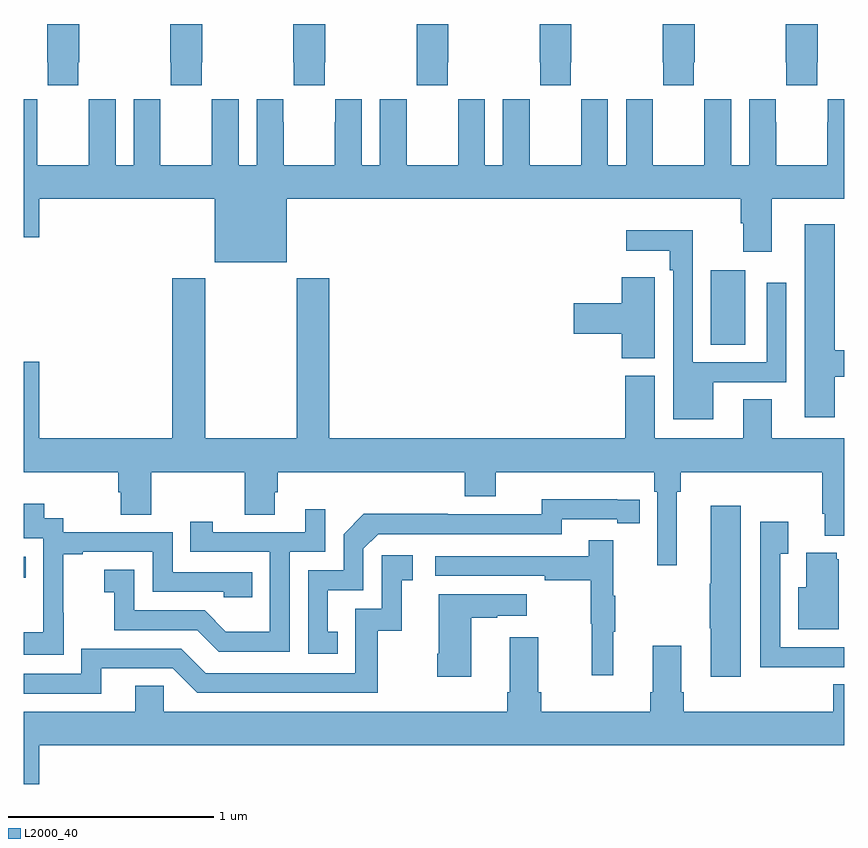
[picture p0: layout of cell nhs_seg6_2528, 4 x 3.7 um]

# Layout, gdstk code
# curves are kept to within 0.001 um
import gdstk
lib = gdstk.Library(unit=1e-6, precision=1e-09)
def R(c, l, rs):  # rectangles x0, y0, x1, y1
    for r in rs: c.add(gdstk.rectangle(r[:2], r[2:], *l))
def P(c, l, *ps):  # polygons
    for p in ps: c.add(gdstk.Polygon(p, *l))
L2000_40 = (2000, 40)

nhs_seg6_2528 = lib.new_cell('nhs_seg6_2528')
R(nhs_seg6_2528, L2000_40, [(261,966.802,261.011,966.903), (264.35,967.936,264.517,968.299)])
P(nhs_seg6_2528, L2000_40, [(262.467,969.313),(262.47,969.313),(262.47,969.5),(262.315,969.5),(262.315,969.313),(262.317,969.313),(262.317,969.201),(262.467,969.201)],
  [(264.867,969.313),(264.87,969.313),(264.87,969.5),(264.715,969.5),(264.715,969.313),(264.717,969.313),(264.717,969.201),(264.867,969.201)],
  [(264.267,969.313),(264.27,969.313),(264.27,969.5),(264.115,969.5),(264.115,969.313),(264.117,969.313),(264.117,969.201),(264.267,969.201)],
  [(261.867,969.313),(261.87,969.313),(261.87,969.5),(261.715,969.5),(261.715,969.313),(261.717,969.313),(261.717,969.201),(261.867,969.201)],
  [(263.667,969.313),(263.67,969.313),(263.67,969.5),(263.515,969.5),(263.515,969.313),(263.517,969.313),(263.517,969.201),(263.667,969.201)],
  [(263.067,969.313),(263.07,969.313),(263.07,969.5),(262.915,969.5),(262.915,969.313),(262.917,969.313),(262.917,969.201),(263.067,969.201)],
  [(261.267,969.313),(261.27,969.313),(261.27,969.5),(261.115,969.5),(261.115,969.313),(261.117,969.313),(261.117,969.201),(261.267,969.201)],
  [(264.494,968.528),(264.506,968.528),(264.506,968.391),(264.646,968.391),(264.646,968.648),(265,968.648),(265,969.133),(264.918,969.133),(264.918,969.02),(264.917,969.02),(264.917,968.812),(264.667,968.812),(264.667,969.02),(264.666,969.02),(264.666,969.133),(264.536,969.133),(264.536,968.812),(264.448,968.812),(264.448,969.133),(264.318,969.133),(264.318,969.02),(264.317,969.02),(264.317,968.812),(264.067,968.812),(264.067,969.02),(264.066,969.02),(264.066,969.133),(263.936,969.133),(263.936,968.812),(263.848,968.812),(263.848,969.133),(263.718,969.133),(263.718,969.02),(263.717,969.02),(263.717,968.812),(263.467,968.812),(263.467,969.02),(263.466,969.02),(263.466,969.133),(263.336,969.133),(263.336,968.812),(263.248,968.812),(263.248,969.133),(263.118,969.133),(263.118,969.02),(263.117,969.02),(263.117,968.812),(262.867,968.812),(262.867,969.02),(262.866,969.02),(262.866,969.133),(262.736,969.133),(262.736,968.812),(262.648,968.812),(262.648,969.133),(262.518,969.133),(262.518,969.02),(262.517,969.02),(262.517,968.812),(262.267,968.812),(262.267,969.02),(262.266,969.02),(262.266,969.133),(262.136,969.133),(262.136,968.812),(262.048,968.812),(262.048,969.133),(261.918,969.133),(261.918,969.02),(261.917,969.02),(261.917,968.812),(261.667,968.812),(261.667,969.02),(261.666,969.02),(261.666,969.133),(261.536,969.133),(261.536,968.812),(261.448,968.812),(261.448,969.133),(261.318,969.133),(261.318,969.02),(261.317,969.02),(261.317,968.812),(261.067,968.812),(261.067,969.02),(261.066,969.02),(261.066,969.133),(261,969.133),(261,968.46),(261.076,968.46),(261.076,968.648),(261.932,968.648),(261.932,968.339),(262.282,968.339),(262.282,968.648),(264.494,968.648)],
  [(264.953,967.782),(265,967.782),(265,967.91),(264.953,967.91),(264.953,968.524),(264.806,968.524),(264.806,967.584),(264.953,967.584)],
  [(264.361,967.755),(264.717,967.755),(264.717,968.239),(264.621,968.239),(264.621,967.851),(264.261,967.851),(264.261,968.494),(263.937,968.494),(263.937,968.396),(264.149,968.396),(264.149,968.3),(264.165,968.3),(264.165,967.574),(264.361,967.574)],
  [(264.076,968.153),(264.075,968.153),(264.075,968.266),(263.915,968.266),(263.915,968.138),(263.682,968.138),(263.682,967.991),(263.915,967.991),(263.915,967.87),(264.076,967.87)],
  [(264.184,967.22),(264.203,967.22),(264.203,967.316),(264.893,967.316),(264.893,967.114),(264.905,967.114),(264.905,967.007),(265,967.007),(265,967.48),(264.646,967.48),(264.646,967.67),(264.506,967.67),(264.506,967.48),(264.076,967.48),(264.076,967.785),(263.933,967.785),(263.933,967.48),(262.49,967.48),(262.49,968.26),(262.33,968.26),(262.33,967.48),(261.885,967.48),(261.885,968.26),(261.725,968.26),(261.725,967.48),(261.076,967.48),(261.076,967.855),(261,967.855),(261,967.316),(261.461,967.316),(261.461,967.218),(261.473,967.218),(261.473,967.108),(261.621,967.108),(261.621,967.316),(262.078,967.316),(262.078,967.108),(262.225,967.108),(262.225,967.218),(262.238,967.218),(262.238,967.316),(263.15,967.316),(263.15,967.199),(263.302,967.199),(263.302,967.316),(264.074,967.316),(264.074,967.22),(264.087,967.22),(264.087,966.861),(264.184,966.861)],
  [(262.532,966.537),(262.483,966.537),(262.483,966.741),(262.656,966.741),(262.656,966.942),(262.728,967.014),(263.622,967.014),(263.622,967.086),(263.894,967.086),(263.894,967.066),(264.002,967.066),(264.002,967.182),(263.526,967.183),(263.526,967.11),(263.066,967.11),(263.066,967.112),(262.658,967.112),(262.56,967.014),(262.56,966.837),(262.386,966.837),(262.386,966.432),(262.532,966.432)],
  [(261.195,966.631),(261.194,966.631),(261.194,966.915),(261.289,966.915),(261.289,966.927),(261.63,966.927),(261.63,966.732),(261.975,966.732),(261.975,966.705),(262.115,966.705),(262.115,966.828),(261.726,966.828),(261.726,967.023),(261.192,967.023),(261.192,967.092),(261.1,967.092),(261.1,967.162),(261,967.162),(261,966.993),(261.096,966.993),(261.096,966.764),(261.095,966.764),(261.095,966.535),(261,966.535),(261,966.425),(261.195,966.425)],
  [(264.496,967.153),(264.35,967.153),(264.35,966.773),(264.343,966.773),(264.343,966.556),(264.35,966.556),(264.35,966.318),(264.496,966.318)],
  [(262.296,966.927),(262.47,966.927),(262.47,967.135),(262.373,967.135),(262.373,967.023),(261.922,967.023),(261.922,967.075),(261.811,967.075),(261.811,966.927),(262.2,966.927),(262.2,966.538),(261.986,966.538),(261.882,966.642),(261.54,966.642),(261.54,966.841),(261.393,966.841),(261.393,966.731),(261.442,966.731),(261.442,966.546),(261.845,966.546),(261.95,966.441),(262.296,966.441)],
  [(264.863,966.366),(265,966.366),(265,966.462),(264.687,966.462),(264.687,966.919),(264.727,966.919),(264.727,967.075),(264.591,967.075),(264.591,966.365),(264.863,966.365)],
  [(263.873,966.539),(263.884,966.539),(263.884,966.713),(263.873,966.713),(263.873,966.985),(263.755,966.985),(263.755,966.906),(263.007,966.906),(263.007,966.81),(263.539,966.81),(263.539,966.79),(263.763,966.79),(263.763,966.576),(263.77,966.576),(263.77,966.327),(263.873,966.327)],
  [(264.973,966.891),(264.962,966.891),(264.962,966.922),(264.815,966.922),(264.815,966.754),(264.776,966.754),(264.776,966.551),(264.973,966.551)],
  [(261.379,966.36),(261.726,966.36),(261.846,966.24),(262.726,966.24),(262.726,966.543),(262.844,966.543),(262.844,966.789),(262.897,966.789),(262.897,966.91),(262.746,966.91),(262.746,966.651),(262.617,966.651),(262.617,966.336),(261.888,966.336),(261.768,966.456),(261.282,966.456),(261.282,966.333),(261,966.333),(261,966.237),(261.379,966.237)],
  [(263.182,966.607),(263.309,966.607),(263.309,966.617),(263.452,966.617),(263.452,966.721),(263.024,966.721),(263.024,966.43),(263.017,966.43),(263.017,966.318),(263.182,966.318)],
  [(261.076,965.984),(265,965.984),(265,966.281),(264.947,966.281),(264.947,966.148),(264.218,966.148),(264.218,966.244),(264.205,966.244),(264.205,966.469),(264.065,966.469),(264.065,966.244),(264.053,966.244),(264.053,966.148),(263.522,966.148),(263.522,966.244),(263.509,966.244),(263.509,966.511),(263.369,966.511),(263.369,966.244),(263.357,966.244),(263.357,966.148),(261.684,966.148),(261.684,966.275),(261.545,966.275),(261.545,966.148),(261,966.148),(261,965.796),(261.076,965.796)])

lib.write_gds('nhs_seg6_2528.gds')
